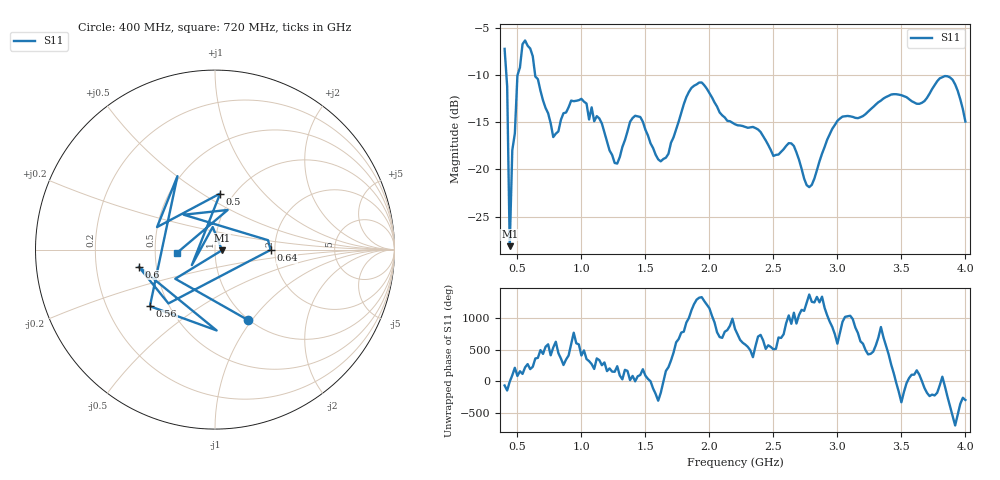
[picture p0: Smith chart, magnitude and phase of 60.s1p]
!Created with skrf (http://scikit-rf.org).
# Hz S RI R 50.0
!freq ReS11 ImS11
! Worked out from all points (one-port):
!   181 points, 400 MHz to 4 GHz, reference 50 ohm
!   lowest |S11| = -28.1 dB at 440 MHz (marker M1), VSWR 1.08, Z = 54.1 - j0.375 ohm
!   |S11| at or under -10 dB: 413.8 MHz to 501.5 MHz (87.7 MHz wide, 19.2 % of centre); 638.4 MHz to end of sweep
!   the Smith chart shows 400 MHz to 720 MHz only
!   S11 on the Smith chart (normalised r, x): 400 MHz: 0.99, -0.96; 500 MHz: 0.87, +0.60; 560 MHz: 0.39, -0.32; 600 MHz: 0.40, -0.09; 640 MHz: 1.90, -0.01; 720 MHz: 0.65, -0.02
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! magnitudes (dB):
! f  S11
! 400 MHz  -7.3
! 420 MHz  -11.2
! 440 MHz  -28.1
! 460 MHz  -18.0
! 480 MHz  -16.2
! 500 MHz  -10.1
! 560 MHz  -6.4
! 600 MHz  -7.2
! 640 MHz  -10.2
! 720 MHz  -13.5
! 780 MHz  -16.6
! 860 MHz  -14.1
! 1 GHz  -12.5
! 1.3 GHz  -18.7
! 1.42 GHz  -14.3
! 1.62 GHz  -19.1
! 1.76 GHz  -14.9
! 1.94 GHz  -10.8
! 2.2 GHz  -15.2
! 2.38 GHz  -15.8
! 2.5 GHz  -18.6
! 2.66 GHz  -17.5
! 2.78 GHz  -21.9
! 2.96 GHz  -15.7
! 3.1 GHz  -14.4
! 3.56 GHz  -12.6
! 3.86 GHz  -10.1
! 4 GHz  -14.9
